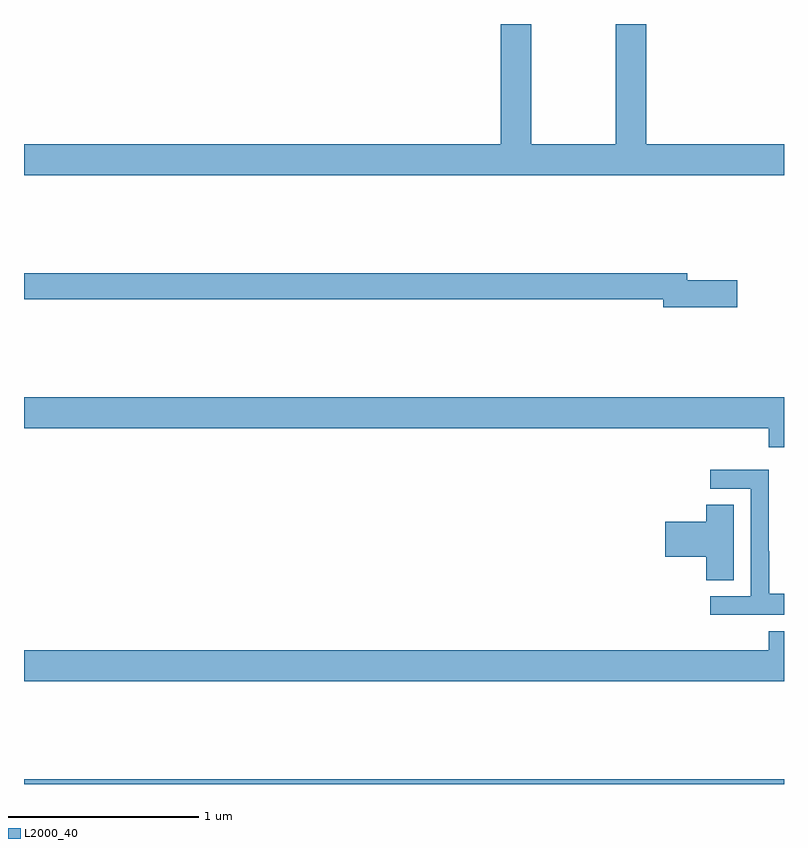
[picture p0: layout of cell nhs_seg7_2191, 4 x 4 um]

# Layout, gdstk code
import gdstk
lib = gdstk.Library(unit=1e-6, precision=1e-09)
def R(c, l, rs):  # rectangles x0, y0, x1, y1
    for r in rs: c.add(gdstk.rectangle(r[:2], r[2:], *l))
def P(c, l, *ps):  # polygons
    for p in ps: c.add(gdstk.Polygon(p, *l))
L2000_40 = (2000, 40)

nhs_seg7_2191 = lib.new_cell('nhs_seg7_2191')
R(nhs_seg7_2191, L2000_40, [(253,1076,257,1076.024)])
P(nhs_seg7_2191, L2000_40, [(257,1079.368),(256.274,1079.368),(256.274,1080),(256.114,1080),(256.114,1079.368),(255.669,1079.368),(255.669,1080),(255.509,1080),(255.509,1079.368),(253,1079.368),(253,1079.204),(257,1079.204)],
  [(256.753,1078.652),(256.492,1078.652),(256.492,1078.688),(253,1078.688),(253,1078.552),(256.364,1078.552),(256.364,1078.51),(256.753,1078.51)],
  [(257,1078.036),(253,1078.036),(253,1077.872),(256.919,1077.872),(256.919,1077.773),(257,1077.773)],
  [(257,1077.001),(256.923,1077.001),(256.923,1077.224),(256.92,1077.224),(256.92,1077.654),(256.611,1077.654),(256.611,1077.555),(256.824,1077.555),(256.824,1076.988),(256.611,1076.988),(256.611,1076.892),(257,1076.892)],
  [(256.735,1077.47),(256.592,1077.47),(256.592,1077.38),(256.374,1077.38),(256.374,1077.197),(256.592,1077.197),(256.592,1077.073),(256.735,1077.073)],
  [(257,1076.803),(256.919,1076.803),(256.919,1076.704),(253,1076.704),(253,1076.54),(257,1076.54)])

lib.write_gds('nhs_seg7_2191.gds')
